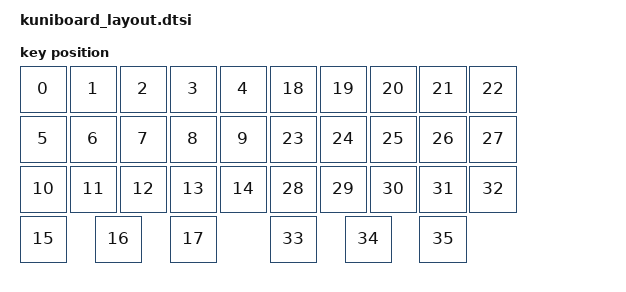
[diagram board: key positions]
#include <physical_layouts.dtsi>
/ {
    physical_layout0: physical_layout_0 {
        compatible = "zmk,physical-layout";
        display-name = "Default Layout";
        transform = <&default_transform>;
        kscan = <&kscan0>;
        keys =
            <&key_physical_attrs 100 100 0 0 0 0 0>, // Left half, row 0, col 0
            <&key_physical_attrs 100 100 100 0 0 0 0>, // Left half, row 0, col 1
            <&key_physical_attrs 100 100 200 0 0 0 0>, // Left half, row 0, col 2
            <&key_physical_attrs 100 100 300 0 0 0 0>, // Left half, row 0, col 3
            <&key_physical_attrs 100 100 400 0 0 0 0>, // Left half, row 0, col 4
            <&key_physical_attrs 100 100 0 100 0 0 0>, // Left half, row 1, col 0
            <&key_physical_attrs 100 100 100 100 0 0 0>, // Left half, row 1, col 1
            <&key_physical_attrs 100 100 200 100 0 0 0>, // Left half, row 1, col 2
            <&key_physical_attrs 100 100 300 100 0 0 0>, // Left half, row 1, col 3
            <&key_physical_attrs 100 100 400 100 0 0 0>, // Left half, row 1, col 4
            <&key_physical_attrs 100 100 0 200 0 0 0>, // Left half, row 2, col 0
            <&key_physical_attrs 100 100 100 200 0 0 0>, // Left half, row 2, col 1
            <&key_physical_attrs 100 100 200 200 0 0 0>, // Left half, row 2, col 2
            <&key_physical_attrs 100 100 300 200 0 0 0>, // Left half, row 2, col 3
            <&key_physical_attrs 100 100 400 200 0 0 0>, // Left half, row 2, col 4
            <&key_physical_attrs 100 100 0 300 0 0 0>, // Left thumb button 1
            <&key_physical_attrs 100 100 150 300 0 0 0>, // Left thumb button 2
            <&key_physical_attrs 100 100 300 300 0 0 0>, // Left thumb button 3
            <&key_physical_attrs 100 100 500 0 0 0 0>, // Right half, row 0, col 0
            <&key_physical_attrs 100 100 600 0 0 0 0>, // Right half, row 0, col 1
            <&key_physical_attrs 100 100 700 0 0 0 0>, // Right half, row 0, col 2
            <&key_physical_attrs 100 100 800 0 0 0 0>, // Right half, row 0, col 3
            <&key_physical_attrs 100 100 900 0 0 0 0>, // Right half, row 0, col 4
            <&key_physical_attrs 100 100 500 100 0 0 0>, // Right half, row 1, col 0
            <&key_physical_attrs 100 100 600 100 0 0 0>, // Right half, row 1, col 1
            <&key_physical_attrs 100 100 700 100 0 0 0>, // Right half, row 1, col 2
            <&key_physical_attrs 100 100 800 100 0 0 0>, // Right half, row 1, col 3
            <&key_physical_attrs 100 100 900 100 0 0 0>, // Right half, row 1, col 4
            <&key_physical_attrs 100 100 500 200 0 0 0>, // Right half, row 2, col 0
            <&key_physical_attrs 100 100 600 200 0 0 0>, // Right half, row 2, col 1
            <&key_physical_attrs 100 100 700 200 0 0 0>, // Right half, row 2, col 2
            <&key_physical_attrs 100 100 800 200 0 0 0>, // Right half, row 2, col 3
            <&key_physical_attrs 100 100 900 200 0 0 0>, // Right half, row 2, col 4
            <&key_physical_attrs 100 100 500 300 0 0 0>, // Right thumb button 1
            <&key_physical_attrs 100 100 650 300 0 0 0>, // Right thumb button 2
            <&key_physical_attrs 100 100 800 300 0 0 0>  // Right thumb button 3
        ;
    };
};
